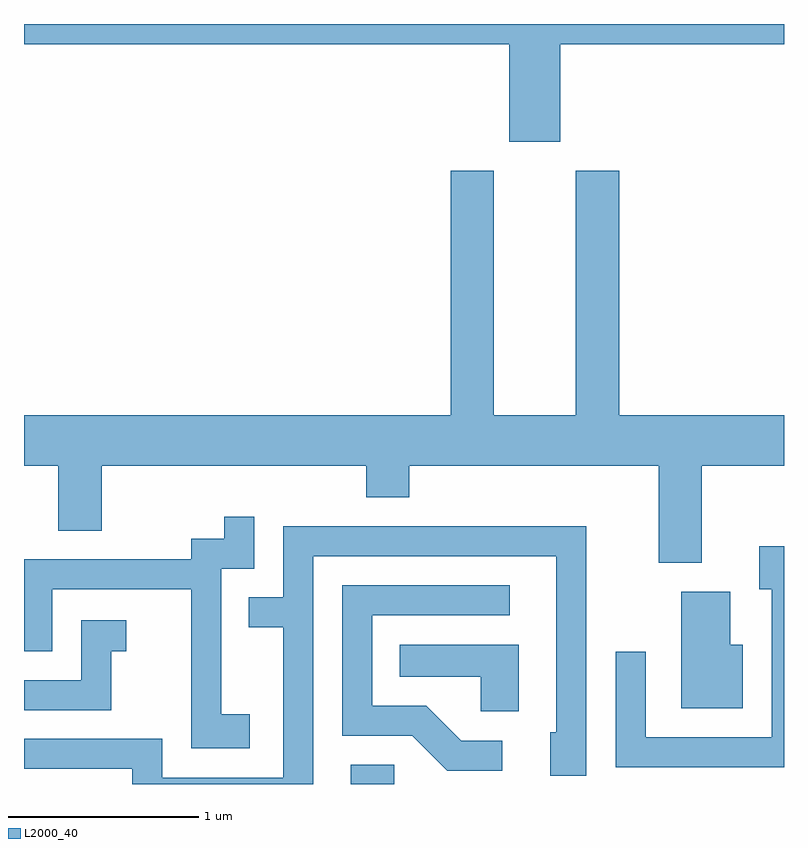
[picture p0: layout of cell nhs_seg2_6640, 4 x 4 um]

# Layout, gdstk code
import gdstk
lib = gdstk.Library(unit=1e-6, precision=1e-09)
def R(c, l, rs):  # rectangles x0, y0, x1, y1
    for r in rs: c.add(gdstk.rectangle(r[:2], r[2:], *l))
def P(c, l, *ps):  # polygons
    for p in ps: c.add(gdstk.Polygon(p, *l))
L2000_40 = (2000, 40)

nhs_seg2_6640 = lib.new_cell('nhs_seg2_6640')
R(nhs_seg2_6640, L2000_40, [(383.331,997.802,383.559,997.904)])
P(nhs_seg2_6640, L2000_40, [(384.434,1001.696),(385.611,1001.696),(385.611,1001.802),(381.611,1001.802),(381.611,1001.696),(384.166,1001.696),(384.166,1001.181),(384.434,1001.181)],
  [(385.179,999.476),(385.611,999.476),(385.611,999.744),(384.744,999.744),(384.744,1001.029),(384.516,1001.029),(384.516,999.744),(384.084,999.744),(384.084,1001.029),(383.856,1001.029),(383.856,999.744),(381.611,999.744),(381.611,999.476),(381.791,999.476),(381.791,999.136),(382.019,999.136),(382.019,999.476),(383.411,999.476),(383.411,999.311),(383.639,999.311),(383.639,999.476),(384.951,999.476),(384.951,998.966),(385.179,998.966)],
  [(382.799,998.169),(382.649,998.169),(382.649,998.936),(382.824,998.936),(382.824,999.208),(382.666,999.208),(382.666,999.094),(382.491,999.094),(382.491,998.984),(381.611,998.984),(381.611,998.501),(381.759,998.501),(381.759,998.826),(382.491,998.826),(382.491,997.991),(382.799,997.991)],
  [(383.134,999.001),(384.411,999.001),(384.411,998.074),(384.381,998.074),(384.381,997.846),(384.569,997.846),(384.569,999.159),(382.976,999.159),(382.976,998.784),(382.793,998.784),(382.793,998.626),(382.976,998.626),(382.976,997.834),(382.339,997.834),(382.339,998.039),(381.611,998.039),(381.611,997.881),(382.181,997.881),(382.181,997.802),(383.134,997.802)],
  [(385.611,999.054),(385.481,999.054),(385.481,998.826),(385.546,998.826),(385.546,998.049),(384.884,998.049),(384.884,998.498),(384.726,998.498),(384.726,997.891),(385.611,997.891)],
  [(384.128,998.029),(383.912,998.029),(383.727,998.214),(383.444,998.214),(383.444,998.691),(384.168,998.691),(384.168,998.849),(383.286,998.849),(383.286,998.056),(383.654,998.056),(383.839,997.871),(384.128,997.871)],
  [(385.394,998.534),(385.329,998.534),(385.329,998.814),(385.071,998.814),(385.071,998.201),(385.394,998.201)],
  [(382.069,998.501),(382.148,998.501),(382.148,998.664),(381.911,998.664),(381.911,998.349),(381.611,998.349),(381.611,998.191),(382.069,998.191)],
  [(384.214,998.534),(383.588,998.534),(383.588,998.366),(384.016,998.366),(384.016,998.186),(384.214,998.186)])

lib.write_gds('nhs_seg2_6640.gds')
